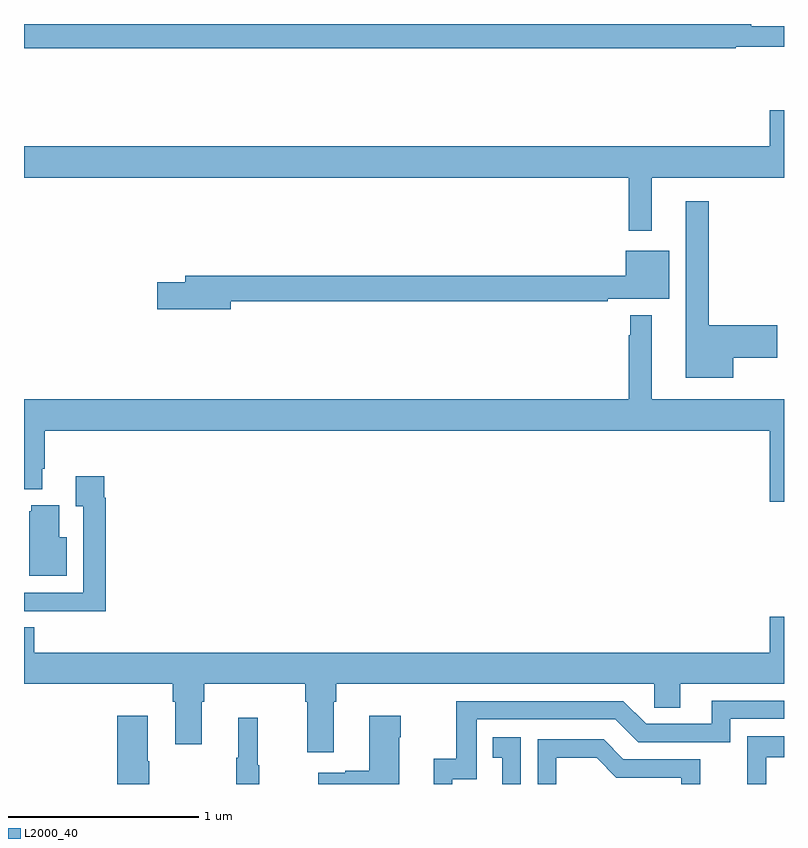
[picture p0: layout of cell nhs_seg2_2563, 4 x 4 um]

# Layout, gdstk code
import gdstk
lib = gdstk.Library(unit=1e-6, precision=1e-09)
def P(c, l, *ps):  # polygons
    for p in ps: c.add(gdstk.Polygon(p, *l))
L2000_40 = (2000, 40)

nhs_seg2_2563 = lib.new_cell('nhs_seg2_2563')
P(nhs_seg2_2563, L2000_40, [(248.745,625.68),(249,625.68),(249,625.789),(248.828,625.789),(248.828,625.8),(245,625.8),(245,625.672),(248.745,625.672)],
  [(248.305,624.992),(249,624.992),(249,625.345),(248.924,625.345),(248.924,625.156),(245,625.156),(245,624.992),(248.184,624.992),(248.184,624.711),(248.305,624.711)],
  [(248.734,624.044),(248.965,624.044),(248.965,624.215),(248.605,624.215),(248.605,624.868),(248.483,624.868),(248.483,623.939),(248.734,623.939)],
  [(246.088,624.34),(248.072,624.34),(248.072,624.353),(248.395,624.353),(248.395,624.607),(248.168,624.607),(248.168,624.476),(245.849,624.476),(245.849,624.44),(245.7,624.44),(245.7,624.298),(246.088,624.298)],
  [(249,623.824),(248.305,623.824),(248.305,624.268),(248.19,624.268),(248.19,624.161),(248.184,624.161),(248.184,623.824),(245,623.824),(245,623.351),(245.095,623.351),(245.095,623.458),(245.108,623.458),(245.108,623.66),(248.924,623.66),(248.924,623.286),(249,623.286)],
  [(245.429,623.306),(245.422,623.306),(245.422,623.419),(245.273,623.419),(245.273,623.263),(245.313,623.263),(245.313,622.806),(245,622.806),(245,622.71),(245.137,622.71),(245.137,622.709),(245.429,622.709)],
  [(245.224,623.098),(245.185,623.098),(245.185,623.266),(245.039,623.266),(245.039,623.235),(245.027,623.235),(245.027,622.895),(245.224,622.895)],
  [(246.631,622.232),(246.644,622.232),(246.644,622.328),(248.316,622.328),(248.316,622.201),(248.455,622.201),(248.455,622.328),(249,622.328),(249,622.681),(248.924,622.681),(248.924,622.492),(245.054,622.492),(245.054,622.625),(245,622.625),(245,622.328),(245.783,622.328),(245.783,622.232),(245.795,622.232),(245.795,622.008),(245.935,622.008),(245.935,622.232),(245.948,622.232),(245.948,622.328),(246.479,622.328),(246.479,622.232),(246.491,622.232),(246.491,621.966),(246.631,621.966)],
  [(247.254,621.825),(247.383,621.825),(247.383,622.14),(248.112,622.14),(248.232,622.02),(248.718,622.02),(248.718,622.143),(249,622.143),(249,622.239),(248.621,622.239),(248.621,622.116),(248.274,622.116),(248.154,622.236),(247.275,622.236),(247.275,621.934),(247.157,621.934),(247.157,621.8),(247.254,621.8)],
  [(246.976,622.046),(246.984,622.046),(246.984,622.159),(246.818,622.159),(246.818,621.869),(246.692,621.869),(246.692,621.859),(246.549,621.859),(246.549,621.8),(246.976,621.8)],
  [(245.658,621.92),(245.65,621.92),(245.65,622.159),(245.492,622.159),(245.492,621.8),(245.658,621.8)],
  [(246.238,621.9),(246.23,621.9),(246.23,622.15),(246.128,622.15),(246.128,621.937),(246.117,621.937),(246.117,621.8),(246.238,621.8)],
  [(248.906,621.941),(249,621.941),(249,622.051),(248.806,622.051),(248.806,621.845),(248.807,621.845),(248.807,621.8),(248.906,621.8)],
  [(247.614,622.045),(247.468,622.045),(247.468,621.939),(247.517,621.939),(247.517,621.8),(247.614,621.8)],
  [(247.8,621.938),(248.014,621.938),(248.118,621.834),(248.46,621.834),(248.46,621.8),(248.559,621.8),(248.559,621.93),(248.155,621.93),(248.05,622.035),(247.704,622.035),(247.704,621.8),(247.8,621.8)])

lib.write_gds('nhs_seg2_2563.gds')
